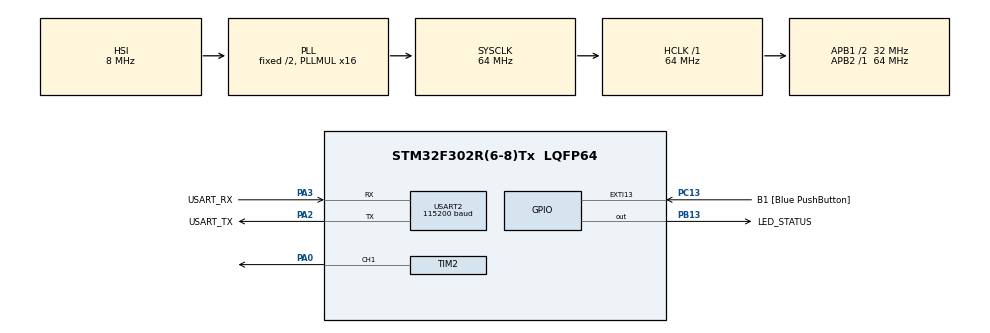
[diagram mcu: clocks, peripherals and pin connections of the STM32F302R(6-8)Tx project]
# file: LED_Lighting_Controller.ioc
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Mcu.Family=STM32F3
Mcu.Name=STM32F302R(6-8)Tx
Mcu.Package=LQFP64
NVIC.EXTI15_10_IRQn=true\:0\:0\:false\:false\:true\:true\:true\:true
NVIC.PriorityGroup=NVIC_PRIORITYGROUP_0
NVIC.TIM6_DAC_IRQn=true\:0\:0\:false\:false\:true\:true\:true\:true
NVIC.USART2_IRQn=true\:0\:0\:false\:false\:true\:true\:true\:true
PA0.Signal=S_TIM2_CH1_ETR
PA13.GPIO_Label=TMS
PA13.Mode=Serial_Wire
PA13.Signal=SYS_JTMS-SWDIO
PA14.GPIO_Label=TCK
PA14.Mode=Serial_Wire
PA14.Signal=SYS_JTCK-SWCLK
PA2.GPIO_Label=USART_TX
PA2.GPIO_Mode=GPIO_MODE_AF_PP
PA2.GPIO_PuPd=GPIO_NOPULL
PA2.GPIO_Speed=GPIO_SPEED_FREQ_LOW
PA2.Mode=Asynchronous
PA2.Signal=USART2_TX
PA3.GPIO_Label=USART_RX
PA3.GPIO_Mode=GPIO_MODE_AF_PP
PA3.GPIO_PuPd=GPIO_NOPULL
PA3.GPIO_Speed=GPIO_SPEED_FREQ_LOW
PA3.Mode=Asynchronous
PA3.Signal=USART2_RX
PB13.GPIO_Label=LED_STATUS
PB13.Signal=GPIO_Output
PB3.GPIO_Label=SWO
PB3.Mode=Trace_Asynchronous_SW
PB3.Signal=SYS_JTDO-TRACESWO
PC13.GPIO_Label=B1 [Blue PushButton]
PC13.GPIO_ModeDefaultEXTI=GPIO_MODE_IT_RISING_FALLING
PC13.Signal=GPXTI13
PC14\ -\ OSC32_IN.Mode=LSE-External-Oscillator
PC14\ -\ OSC32_IN.Signal=RCC_OSC32_IN
PC15\ -\ OSC32_OUT.Mode=LSE-External-Oscillator
PC15\ -\ OSC32_OUT.Signal=RCC_OSC32_OUT
PF0-OSC_IN.Mode=HSE-External-Clock-Source
PF0-OSC_IN.Signal=RCC_OSC_IN
PF1-OSC_OUT.Signal=RCC_OSC_OUT
ProjectManager.HeapSize=0x200
ProjectManager.StackSize=0x400
ProjectManager.TargetToolchain=STM32CubeIDE
RCC.AHBFreq_Value=64000000
RCC.APB1CLKDivider=RCC_HCLK_DIV2
RCC.APB1Freq_Value=32000000
RCC.APB1TimFreq_Value=64000000
RCC.APB2Freq_Value=64000000
RCC.APB2TimFreq_Value=64000000
RCC.CortexFreq_Value=64000000
RCC.HCLKFreq_Value=64000000
RCC.HSE_VALUE=8000000
RCC.HSI_VALUE=8000000
RCC.PLLM=8
RCC.PLLMUL=RCC_PLL_MUL16
RCC.PLLN=336
RCC.PLLP=RCC_PLLP_DIV4
RCC.PLLQ=7
RCC.RCC_PLLsource_Clock_Source_FROM_HSE=RCC_HSE_PREDIV_DIV2
RCC.SYSCLKFreq_VALUE=64000000
RCC.SYSCLKSourceVirtual=RCC_SYSCLKSOURCE_PLLCLK
RCC.USBFreq_Value=64000000
SH.S_TIM2_CH1_ETR.0=TIM2_CH1,PWM Generation1 CH1
TIM2.Channel-PWM\ Generation1\ CH1=TIM_CHANNEL_1
TIM2.Period=999
TIM2.Prescaler=63
TIM2.Pulse-PWM\ Generation1\ CH1=250
TIM6.Period=999
TIM6.Prescaler=63
USART2.BaudRate=115200
USART2.VirtualMode-Asynchronous=VM_ASYNC
VP_TIM2_VS_ClockSourceINT.Mode=Internal
VP_TIM6_VS_ClockSourceINT.Mode=Enable_Timer
board=NUCLEO-F302R8

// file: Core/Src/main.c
/* USER CODE BEGIN Header */
/**
  ******************************************************************************
  * @file           : main.c
  * @brief          : Main program body
  ******************************************************************************
  * @attention
  *
  * Copyright (c) 2026 STMicroelectronics.
  * All rights reserved.
  *
  * This software is licensed under terms that can be found in the LICENSE file
  * in the root directory of this software component.
  * If no LICENSE file comes with this software, it is provided AS-IS.
  *
  ******************************************************************************
  */
/* USER CODE END Header */
#include "main.h"

/* USER CODE BEGIN Includes */
#include "app_button.h"
#include "app_control.h"
#include "app_uart.h"
#include "app_console.h"
/* USER CODE END Includes */

TIM_HandleTypeDef htim2;
TIM_HandleTypeDef htim6;

UART_HandleTypeDef huart2;

/* USER CODE BEGIN PV */
static volatile uint32_t g_appMs = 0U;
/* USER CODE END PV */

void SystemClock_Config(void);
static void MX_GPIO_Init(void);
static void MX_USART2_UART_Init(void);
static void MX_TIM2_Init(void);
static void MX_TIM6_Init(void);

int main(void)
{

  /* MCU Configuration--------------------------------------------------------*/

  /* Reset of all peripherals, Initializes the Flash interface and the Systick. */
  HAL_Init();

  /* Configure the system clock */
  SystemClock_Config();

  /* Initialize all configured peripherals */
  MX_GPIO_Init();
  MX_USART2_UART_Init();
  MX_TIM2_Init();
  MX_TIM6_Init();
  /* USER CODE BEGIN 2 */
  uint32_t lastServiceMs = 0U;
  if (HAL_TIM_PWM_Start(&htim2, TIM_CHANNEL_1) != HAL_OK)
  {
      Error_Handler();
  }

  AppButton_Init(g_appMs);
  AppControl_Init(&htim2);

  if (HAL_TIM_Base_Start_IT(&htim6) != HAL_OK)
  {
      Error_Handler();
  }
  if (AppUart_Init(&huart2) != HAL_OK)
  {
      Error_Handler();
  }
  AppConsole_Init(g_appMs);
  /* USER CODE END 2 */

  /* Infinite loop */
  while (1)
  {

    /* USER CODE BEGIN 3 */
    AppUart_Process();
    uint32_t now = g_appMs;

    /* Service once per TIM6 tick; all application work stays in main. */
    if (now != lastServiceMs)
    {
        lastServiceMs = now;
        AppControl_Process(now);

        AppButton_Event event = AppButton_Process(now);
        if (event != APP_BUTTON_NONE)
        {
            AppControl_HandleButton(event);
        }
    }
    AppConsole_Process(now);
    AppUart_Process();
  }
  /* USER CODE END 3 */
}

void SystemClock_Config(void)
{
  RCC_OscInitTypeDef RCC_OscInitStruct = {0};
  RCC_ClkInitTypeDef RCC_ClkInitStruct = {0};

  /** Initializes the RCC Oscillators according to the specified parameters
  * in the RCC_OscInitTypeDef structure.
  */
  RCC_OscInitStruct.OscillatorType = RCC_OSCILLATORTYPE_HSI;
  RCC_OscInitStruct.HSIState = RCC_HSI_ON;
  RCC_OscInitStruct.HSICalibrationValue = RCC_HSICALIBRATION_DEFAULT;
  RCC_OscInitStruct.PLL.PLLState = RCC_PLL_ON;
  RCC_OscInitStruct.PLL.PLLSource = RCC_PLLSOURCE_HSI;
  RCC_OscInitStruct.PLL.PLLMUL = RCC_PLL_MUL16;
  if (HAL_RCC_OscConfig(&RCC_OscInitStruct) != HAL_OK)
  {
    Error_Handler();
  }

  /** Initializes the CPU, AHB and APB buses clocks
  */
  RCC_ClkInitStruct.ClockType = RCC_CLOCKTYPE_HCLK|RCC_CLOCKTYPE_SYSCLK
                              |RCC_CLOCKTYPE_PCLK1|RCC_CLOCKTYPE_PCLK2;
  RCC_ClkInitStruct.SYSCLKSource = RCC_SYSCLKSOURCE_PLLCLK;
  RCC_ClkInitStruct.AHBCLKDivider = RCC_SYSCLK_DIV1;
  RCC_ClkInitStruct.APB1CLKDivider = RCC_HCLK_DIV2;
  RCC_ClkInitStruct.APB2CLKDivider = RCC_HCLK_DIV1;

  if (HAL_RCC_ClockConfig(&RCC_ClkInitStruct, FLASH_LATENCY_2) != HAL_OK)
  {
    Error_Handler();
  }
}

static void MX_TIM2_Init(void)
{

  TIM_ClockConfigTypeDef sClockSourceConfig = {0};
  TIM_MasterConfigTypeDef sMasterConfig = {0};
  TIM_OC_InitTypeDef sConfigOC = {0};

  htim2.Instance = TIM2;
  htim2.Init.Prescaler = 63;
  htim2.Init.CounterMode = TIM_COUNTERMODE_UP;
  htim2.Init.Period = 999;
  htim2.Init.ClockDivision = TIM_CLOCKDIVISION_DIV1;
  htim2.Init.AutoReloadPreload = TIM_AUTORELOAD_PRELOAD_DISABLE;
  if (HAL_TIM_Base_Init(&htim2) != HAL_OK)
  {
    Error_Handler();
  }
  sClockSourceConfig.ClockSource = TIM_CLOCKSOURCE_INTERNAL;
  if (HAL_TIM_ConfigClockSource(&htim2, &sClockSourceConfig) != HAL_OK)
  {
    Error_Handler();
  }
  if (HAL_TIM_PWM_Init(&htim2) != HAL_OK)
  {
    Error_Handler();
  }
  sMasterConfig.MasterOutputTrigger = TIM_TRGO_RESET;
  sMasterConfig.MasterSlaveMode = TIM_MASTERSLAVEMODE_DISABLE;
  if (HAL_TIMEx_MasterConfigSynchronization(&htim2, &sMasterConfig) != HAL_OK)
  {
    Error_Handler();
  }
  sConfigOC.OCMode = TIM_OCMODE_PWM1;
  sConfigOC.Pulse = 250;
  sConfigOC.OCPolarity = TIM_OCPOLARITY_HIGH;
  sConfigOC.OCFastMode = TIM_OCFAST_DISABLE;
  if (HAL_TIM_PWM_ConfigChannel(&htim2, &sConfigOC, TIM_CHANNEL_1) != HAL_OK)
  {
    Error_Handler();
  }
  HAL_TIM_MspPostInit(&htim2);

}

static void MX_TIM6_Init(void)
{

  TIM_MasterConfigTypeDef sMasterConfig = {0};

  htim6.Instance = TIM6;
  htim6.Init.Prescaler = 63;
  htim6.Init.CounterMode = TIM_COUNTERMODE_UP;
  htim6.Init.Period = 999;
  htim6.Init.AutoReloadPreload = TIM_AUTORELOAD_PRELOAD_DISABLE;
  if (HAL_TIM_Base_Init(&htim6) != HAL_OK)
  {
    Error_Handler();
  }
  sMasterConfig.MasterOutputTrigger = TIM_TRGO_RESET;
  sMasterConfig.MasterSlaveMode = TIM_MASTERSLAVEMODE_DISABLE;
  if (HAL_TIMEx_MasterConfigSynchronization(&htim6, &sMasterConfig) != HAL_OK)
  {
    Error_Handler();
  }

}

static void MX_USART2_UART_Init(void)
{

  huart2.Instance = USART2;
  huart2.Init.BaudRate = 115200;
  huart2.Init.WordLength = UART_WORDLENGTH_8B;
  huart2.Init.StopBits = UART_STOPBITS_1;
  huart2.Init.Parity = UART_PARITY_NONE;
  huart2.Init.Mode = UART_MODE_TX_RX;
  huart2.Init.HwFlowCtl = UART_HWCONTROL_NONE;
  huart2.Init.OverSampling = UART_OVERSAMPLING_16;
  huart2.Init.OneBitSampling = UART_ONE_BIT_SAMPLE_DISABLE;
  huart2.AdvancedInit.AdvFeatureInit = UART_ADVFEATURE_NO_INIT;
  if (HAL_UART_Init(&huart2) != HAL_OK)
  {
    Error_Handler();
  }

}

static void MX_GPIO_Init(void)
{
  GPIO_InitTypeDef GPIO_InitStruct = {0};

  /* GPIO Ports Clock Enable */
  __HAL_RCC_GPIOC_CLK_ENABLE();
  __HAL_RCC_GPIOF_CLK_ENABLE();
  __HAL_RCC_GPIOA_CLK_ENABLE();
  __HAL_RCC_GPIOB_CLK_ENABLE();

  /*Configure GPIO pin Output Level */
  HAL_GPIO_WritePin(LED_STATUS_GPIO_Port, LED_STATUS_Pin, GPIO_PIN_RESET);

  /*Configure GPIO pin : B1_Pin */
  GPIO_InitStruct.Pin = B1_Pin;
  GPIO_InitStruct.Mode = GPIO_MODE_IT_RISING_FALLING;
  GPIO_InitStruct.Pull = GPIO_NOPULL;
  HAL_GPIO_Init(B1_GPIO_Port, &GPIO_InitStruct);

  /*Configure GPIO pin : LED_STATUS_Pin */
  GPIO_InitStruct.Pin = LED_STATUS_Pin;
  GPIO_InitStruct.Mode = GPIO_MODE_OUTPUT_PP;
  GPIO_InitStruct.Pull = GPIO_NOPULL;
  GPIO_InitStruct.Speed = GPIO_SPEED_FREQ_LOW;
  HAL_GPIO_Init(LED_STATUS_GPIO_Port, &GPIO_InitStruct);

  /* EXTI interrupt init*/
  HAL_NVIC_SetPriority(EXTI15_10_IRQn, 0, 0);
  HAL_NVIC_EnableIRQ(EXTI15_10_IRQn);

}

/* USER CODE BEGIN 4 */
void HAL_TIM_PeriodElapsedCallback(TIM_HandleTypeDef *htim)
{
    if (htim->Instance == TIM6)
    {
        ++g_appMs;
    }
}

void HAL_GPIO_EXTI_Callback(uint16_t GPIO_Pin)
{
    if (GPIO_Pin == GPIO_PIN_13)
    {
        AppButton_NotifyEdge();
    }
}
void HAL_UART_RxCpltCallback(UART_HandleTypeDef *huart)
{
    AppUart_RxComplete(huart);
}

void HAL_UART_TxCpltCallback(UART_HandleTypeDef *huart)
{
    AppUart_TxComplete(huart);
}

void HAL_UART_ErrorCallback(UART_HandleTypeDef *huart)
{
    AppUart_Error(huart);
}
/* USER CODE END 4 */

void Error_Handler(void)
{
  __disable_irq();
  while (1)
  {
  }
}
